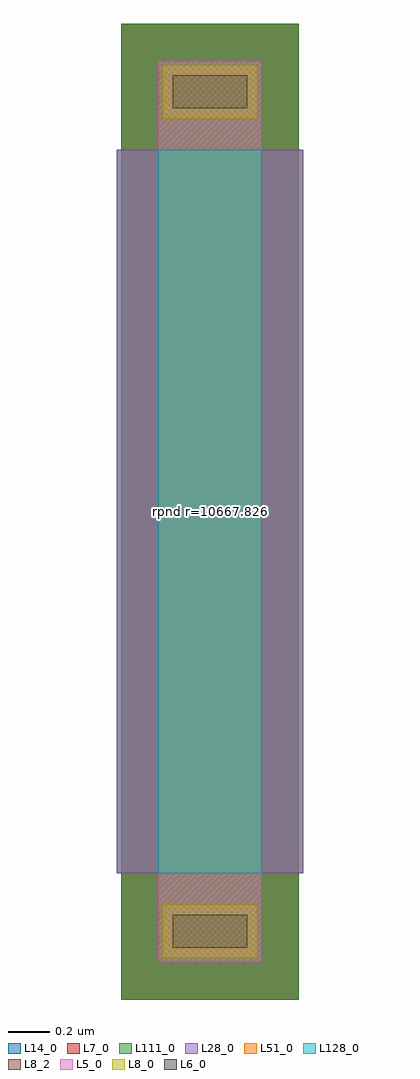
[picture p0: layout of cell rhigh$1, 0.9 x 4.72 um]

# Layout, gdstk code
import gdstk
lib = gdstk.Library(unit=1e-6, precision=1e-09)
def R(c, l, rs):  # rectangles x0, y0, x1, y1
    for r in rs: c.add(gdstk.rectangle(r[:2], r[2:], *l))
L5_0 = (5, 0)
L6_0 = (6, 0)
L7_0 = (7, 0)
L8_0 = (8, 0)
L8_2 = (8, 2)
L14_0 = (14, 0)
L28_0 = (28, 0)
L51_0 = (51, 0)
L111_0 = (111, 0)
L128_0 = (128, 0)

rhigh_1 = lib.new_cell('rhigh$1')
R(rhigh_1, L5_0, [(0,-0.43,0.5,0), (0,3.5,0.5,3.93)])
R(rhigh_1, L6_0, [(0.07,-0.36,0.43,-0.2), (0.07,3.7,0.43,3.86)])
R(rhigh_1, L7_0, [(-0.18,-0.61,0.68,0.18), (-0.18,0,0.68,3.5), (-0.18,0,0.68,3.5), (-0.18,3.32,0.68,4.11)])
R(rhigh_1, L8_0, [(0.02,-0.41,0.48,-0.15), (0.02,3.65,0.48,3.91)])
R(rhigh_1, L8_2, [(0.02,-0.41,0.48,-0.15), (0.02,-0.41,0.48,-0.15), (0.02,3.65,0.48,3.91), (0.02,3.65,0.48,3.91)])
R(rhigh_1, L14_0, [(-0.18,-0.61,0.68,0.18), (-0.18,0,0.68,3.5), (-0.18,0,0.68,3.5), (-0.18,3.32,0.68,4.11)])
R(rhigh_1, L28_0, [(-0.2,0,0.7,3.5)])
R(rhigh_1, L51_0, [(0,0,0.5,3.5)])
R(rhigh_1, L111_0, [(-0.18,-0.61,0.68,0.18), (-0.2,0,0.7,3.5), (-0.18,3.32,0.68,4.11)])
R(rhigh_1, L128_0, [(0,0,0.5,3.5)])
rhigh_1.add(gdstk.Label('rpnd r=10667.826', (0.25,1.75), layer=63, texttype=0))
rhigh_1.add(gdstk.Label('rhigh', (0.25,1.75), layer=51, texttype=0))

lib.write_gds('rhigh_1.gds')
